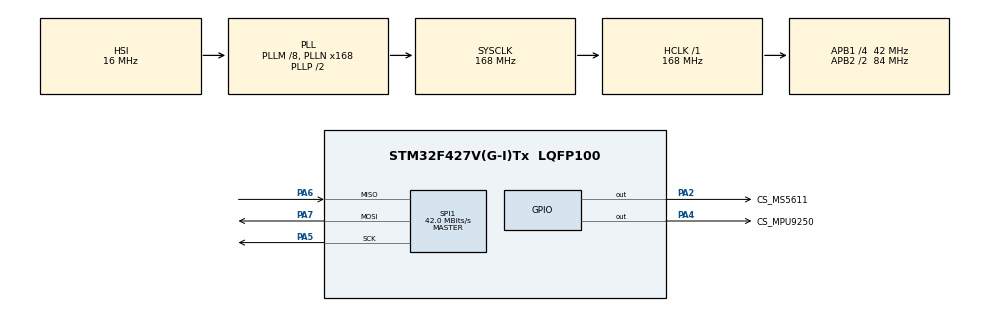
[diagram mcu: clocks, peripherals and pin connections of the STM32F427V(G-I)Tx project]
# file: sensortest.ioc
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Mcu.Family=STM32F4
Mcu.Name=STM32F427V(G-I)Tx
Mcu.Package=LQFP100
NVIC.PriorityGroup=NVIC_PRIORITYGROUP_4
PA13.Mode=Trace_Asynchronous_SW
PA13.Signal=SYS_JTMS-SWDIO
PA14.Mode=Trace_Asynchronous_SW
PA14.Signal=SYS_JTCK-SWCLK
PA2.GPIO_Label=CS_MS5611
PA2.Signal=GPIO_Output
PA4.GPIO_Label=CS_MPU9250
PA4.Signal=GPIO_Output
PA5.Mode=Full_Duplex_Master
PA5.Signal=SPI1_SCK
PA6.Mode=Full_Duplex_Master
PA6.Signal=SPI1_MISO
PA7.Mode=Full_Duplex_Master
PA7.Signal=SPI1_MOSI
PB3.Mode=Trace_Asynchronous_SW
PB3.Signal=SYS_JTDO-SWO
PH0/OSC_IN.Mode=HSE-External-Oscillator
PH0/OSC_IN.Signal=RCC_OSC_IN
PH1/OSC_OUT.Mode=HSE-External-Oscillator
PH1/OSC_OUT.Signal=RCC_OSC_OUT
ProjectManager.HeapSize=0x200
ProjectManager.StackSize=0x400
ProjectManager.TargetToolchain=Makefile
RCC.48MHZClocksFreq_Value=84000000
RCC.AHBFreq_Value=168000000
RCC.APB1CLKDivider=RCC_HCLK_DIV4
RCC.APB1Freq_Value=42000000
RCC.APB1TimFreq_Value=84000000
RCC.APB2CLKDivider=RCC_HCLK_DIV2
RCC.APB2Freq_Value=84000000
RCC.APB2TimFreq_Value=168000000
RCC.CortexFreq_Value=168000000
RCC.HCLKFreq_Value=168000000
RCC.HSE_VALUE=16000000
RCC.HSI_VALUE=16000000
RCC.LSE_VALUE=32768
RCC.PLLM=8
RCC.PLLN=168
RCC.SYSCLKFreq_VALUE=168000000
RCC.SYSCLKSource=RCC_SYSCLKSOURCE_PLLCLK
RCC.VCOOutputFreq_Value=336000000
SPI1.CalculateBaudRate=42.0 MBits/s
SPI1.Direction=SPI_DIRECTION_2LINES
SPI1.Mode=SPI_MODE_MASTER
SPI1.VirtualType=VM_MASTER
board=custom

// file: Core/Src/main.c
/* USER CODE BEGIN Header */
/**
  ******************************************************************************
  * @file           : main.c
  * @brief          : Main program body
  ******************************************************************************
  * @attention
  *
  * Copyright (c) 2023 STMicroelectronics.
  * All rights reserved.
  *
  * This software is licensed under terms that can be found in the LICENSE file
  * in the root directory of this software component.
  * If no LICENSE file comes with this software, it is provided AS-IS.
  *
  ******************************************************************************
  */
/* USER CODE END Header */
#include "main.h"

/* USER CODE BEGIN Includes */
#include "barometer.h"
#include "stdio.h"
#include <string.h>
#include "MPU9250.h"
/* USER CODE END Includes */

SPI_HandleTypeDef hspi1;

void SystemClock_Config(void);
static void MX_GPIO_Init(void);
static void MX_SPI1_Init(void);

/* USER CODE BEGIN 0 */
void SWO_PrintChar(char const c, uint8_t const portNo)
{
    volatile int timeout;

    /* Check if Trace Control Register (ITM->TCR at 0xE0000E80) is set */
    /* check Trace Control Register if ITM trace is enabled*/
    if ((ITM->TCR & ITM_TCR_ITMENA_Msk) == 0)
    {
        return; /* not enabled? */
    }
    /* Check if the requested channel stimulus port (ITM->TER at 0xE0000E00) is enabled */
    /* check Trace Enable Register if requested port is enabled */
    if ((ITM->TER & (1ul << portNo)) == 0)
    {
        return; /* requested port not enabled? */
    }
    timeout = 5000; /* arbitrary timeout value */
    while (ITM->PORT[0].u32 == 0)
    {
        /* Wait until STIMx is ready, then send data */
        if (--timeout == 0)
        {
            return; /* not able to send */
        }
    }
    ITM->PORT[0].u8 = (uint8_t)c;
}
void SWO_PrintString(char const* s, uint8_t const portNumber)
{
    while (*s != '\0')
    {
        SWO_PrintChar(*s++, portNumber);
    }
}
void printString(char const* str)
{
    SWO_PrintString(str, 0);
}

/* USER CODE END 0 */

int main(void)
{

  /* MCU Configuration--------------------------------------------------------*/

  /* Reset of all peripherals, Initializes the Flash interface and the Systick. */
  HAL_Init();

  /* Configure the system clock */
  SystemClock_Config();

  /* Initialize all configured peripherals */
  MX_GPIO_Init();
  MX_SPI1_Init();
  /* USER CODE BEGIN 2 */
  // HAL_GPIO_WritePin(GPIOA, GPIO_PIN_4, GPIO_PIN_SET);
  // HAL_GPIO_WritePin(GPIOA, GPIO_PIN_2, GPIO_PIN_SET);

  Barometer_init();
  uint8_t who_ami_addr = MPU9250_Init(&hspi1);

  int16_t AccData[3], GyroData[3], MagData[3];
  int32_t temp, pressure;
  char buf[256];

  /* USER CODE END 2 */

  /* Infinite loop */
  while (1)
  {
    //printString("Hello from Nucleo64!\n");
    HAL_Delay(1000);

    temp = Barometer_getTemp(true);
    pressure = Barometer_getPressure(true);

    MPU9250_GetData(AccData, MagData,GyroData);

    sprintf(buf, "WHOAMI addr: %d\n"
			 	  "Acc: %d %d %d\n"
			 	  "Gyro: %d %d %d\n"
			 	  "Mag: %d %d %d\n"
          "Pres: %d Temp: %d\n",
          who_ami_addr,
          AccData[0], AccData[1], AccData[2],
			 	 	GyroData[0], GyroData[1], GyroData[2],
					MagData[0], MagData[1], MagData[2],
          pressure,temp);

    // sprintf(buf, "temp: %d Preassure: %d\n", temp, pressure);
    printString(buf);

  }
}

void SystemClock_Config(void)
{
  RCC_OscInitTypeDef RCC_OscInitStruct = {0};
  RCC_ClkInitTypeDef RCC_ClkInitStruct = {0};

  /** Configure the main internal regulator output voltage
  */
  __HAL_RCC_PWR_CLK_ENABLE();
  __HAL_PWR_VOLTAGESCALING_CONFIG(PWR_REGULATOR_VOLTAGE_SCALE1);

  /** Initializes the RCC Oscillators according to the specified parameters
  * in the RCC_OscInitTypeDef structure.
  */
  RCC_OscInitStruct.OscillatorType = RCC_OSCILLATORTYPE_HSI;
  RCC_OscInitStruct.HSIState = RCC_HSI_ON;
  RCC_OscInitStruct.HSICalibrationValue = RCC_HSICALIBRATION_DEFAULT;
  RCC_OscInitStruct.PLL.PLLState = RCC_PLL_ON;
  RCC_OscInitStruct.PLL.PLLSource = RCC_PLLSOURCE_HSI;
  RCC_OscInitStruct.PLL.PLLM = 8;
  RCC_OscInitStruct.PLL.PLLN = 168;
  RCC_OscInitStruct.PLL.PLLP = RCC_PLLP_DIV2;
  RCC_OscInitStruct.PLL.PLLQ = 4;
  if (HAL_RCC_OscConfig(&RCC_OscInitStruct) != HAL_OK)
  {
    Error_Handler();
  }

  /** Initializes the CPU, AHB and APB buses clocks
  */
  RCC_ClkInitStruct.ClockType = RCC_CLOCKTYPE_HCLK|RCC_CLOCKTYPE_SYSCLK
                              |RCC_CLOCKTYPE_PCLK1|RCC_CLOCKTYPE_PCLK2;
  RCC_ClkInitStruct.SYSCLKSource = RCC_SYSCLKSOURCE_PLLCLK;
  RCC_ClkInitStruct.AHBCLKDivider = RCC_SYSCLK_DIV1;
  RCC_ClkInitStruct.APB1CLKDivider = RCC_HCLK_DIV4;
  RCC_ClkInitStruct.APB2CLKDivider = RCC_HCLK_DIV2;

  if (HAL_RCC_ClockConfig(&RCC_ClkInitStruct, FLASH_LATENCY_5) != HAL_OK)
  {
    Error_Handler();
  }
}

static void MX_SPI1_Init(void)
{

  /* SPI1 parameter configuration*/
  hspi1.Instance = SPI1;
  hspi1.Init.Mode = SPI_MODE_MASTER;
  hspi1.Init.Direction = SPI_DIRECTION_2LINES;
  hspi1.Init.DataSize = SPI_DATASIZE_8BIT;
  hspi1.Init.CLKPolarity = SPI_POLARITY_LOW;
  hspi1.Init.CLKPhase = SPI_PHASE_1EDGE;
  hspi1.Init.NSS = SPI_NSS_SOFT;
  hspi1.Init.BaudRatePrescaler = SPI_BAUDRATEPRESCALER_2;
  hspi1.Init.FirstBit = SPI_FIRSTBIT_MSB;
  hspi1.Init.TIMode = SPI_TIMODE_DISABLE;
  hspi1.Init.CRCCalculation = SPI_CRCCALCULATION_DISABLE;
  hspi1.Init.CRCPolynomial = 10;
  if (HAL_SPI_Init(&hspi1) != HAL_OK)
  {
    Error_Handler();
  }

}

static void MX_GPIO_Init(void)
{
  GPIO_InitTypeDef GPIO_InitStruct = {0};

  /* GPIO Ports Clock Enable */
  __HAL_RCC_GPIOH_CLK_ENABLE();
  __HAL_RCC_GPIOA_CLK_ENABLE();
  __HAL_RCC_GPIOB_CLK_ENABLE();

  /*Configure GPIO pin Output Level */
  HAL_GPIO_WritePin(GPIOA, GPIO_PIN_2|GPIO_PIN_4, GPIO_PIN_RESET);

  /*Configure GPIO pins : PA2 PA4 */
  GPIO_InitStruct.Pin = GPIO_PIN_2|GPIO_PIN_4;
  GPIO_InitStruct.Mode = GPIO_MODE_OUTPUT_PP;
  GPIO_InitStruct.Pull = GPIO_NOPULL;
  GPIO_InitStruct.Speed = GPIO_SPEED_FREQ_LOW;
  HAL_GPIO_Init(GPIOA, &GPIO_InitStruct);

}

void Error_Handler(void)
{
  __disable_irq();
  while (1)
  {
  }
}
